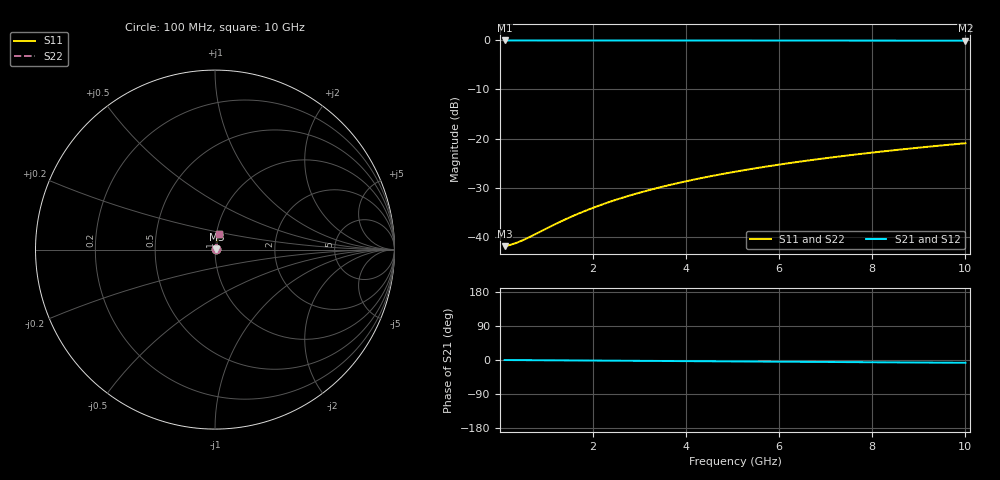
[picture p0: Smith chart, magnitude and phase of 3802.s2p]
# Hz S RI R 50.00
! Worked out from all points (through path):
!   100 points, 100 MHz to 10 GHz, reference 50 ohm
!   highest |S21| = -0.07 dB at 100 MHz (marker M1); lowest = -0.1 dB at 10 GHz (marker M2)
!   group delay of S21, straight-line fit = 2.06 ps
!   lowest |S11| = -41.9 dB at 100 MHz (marker M3), VSWR 1.02, Z = 50.8 + j0.0901 ohm
!   |S11| at or under -10 dB: start of sweep to end of sweep
!   |S22| runs from -41.9 to -21.0 dB; largest |S21 - S12| = 0
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1e8  0.00802 0.000886  0.992 -0.00129  0.992 -0.00129  0.00802 0.000886
2e8  0.00808 0.00177  0.9919 -0.00257  0.9919 -0.00257  0.00808 0.00177
3e8  0.00812 0.00266  0.9919 -0.00386  0.9919 -0.00386  0.00812 0.00266
5e8  0.0082 0.00443  0.9918 -0.00644  0.9918 -0.00644  0.0082 0.00443
7e8  0.00827 0.0062  0.9917 -0.00901  0.9917 -0.00901  0.00827 0.0062
1.3e9  0.0085 0.0115  0.9915 -0.0167  0.9915 -0.0167  0.0085 0.0115
1.6e9  0.00864 0.0142  0.9913 -0.0206  0.9913 -0.0206  0.00864 0.0142
1.8e9  0.00874 0.0159  0.9912 -0.0232  0.9912 -0.0232  0.00874 0.0159
2.1e9  0.0089 0.0186  0.9911 -0.027  0.9911 -0.027  0.0089 0.0186
2.5e9  0.00915 0.0221  0.9908 -0.0321  0.9908 -0.0321  0.00915 0.0221
2.9e9  0.00943 0.0256  0.9905 -0.0373  0.9905 -0.0373  0.00943 0.0256
3.4e9  0.00983 0.0301  0.9901 -0.0437  0.9901 -0.0437  0.00983 0.0301
3.8e9  0.0102 0.0336  0.9897 -0.0488  0.9897 -0.0488  0.0102 0.0336
4.2e9  0.0106 0.0371  0.9893 -0.0539  0.9893 -0.0539  0.0106 0.0371
4.6e9  0.011 0.0406  0.9888 -0.0591  0.9888 -0.0591  0.011 0.0406
5.1e9  0.0116 0.045  0.9882 -0.0655  0.9882 -0.0655  0.0116 0.045
5.9e9  0.0126 0.052  0.9871 -0.0757  0.9871 -0.0757  0.0126 0.052
6.7e9  0.0138 0.0589  0.9858 -0.0858  0.9858 -0.0858  0.0138 0.0589
7.5e9  0.0152 0.0659  0.9843 -0.096  0.9843 -0.096  0.0152 0.0659
8.4e9  0.0168 0.0736  0.9825 -0.1074  0.9825 -0.1074  0.0168 0.0736
9.2e9  0.0185 0.0805  0.9808 -0.1175  0.9808 -0.1175  0.0185 0.0805
1e10  0.0203 0.0873  0.9789 -0.1275  0.9789 -0.1275  0.0203 0.0873
